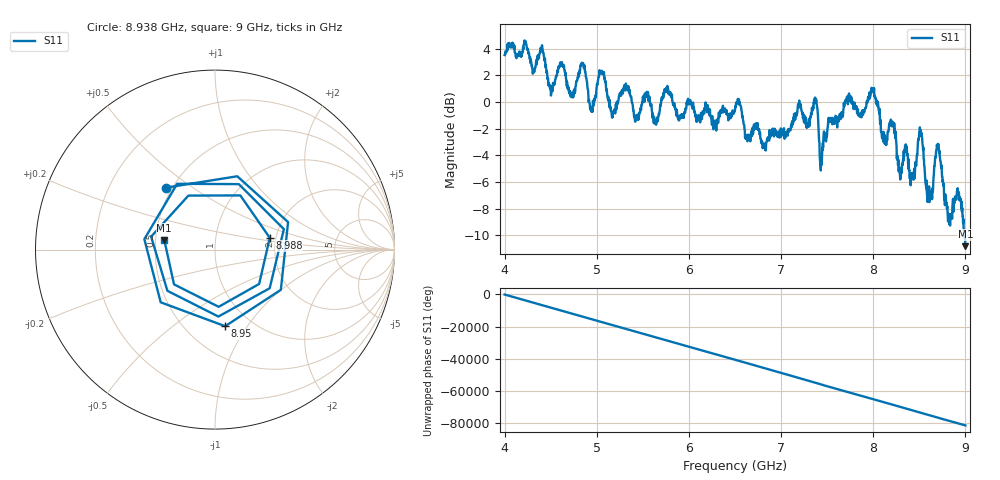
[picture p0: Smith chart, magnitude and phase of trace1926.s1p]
! Created with skrf 1.8.0 (http://scikit-rf.org).
# Hz S RI R 50.0
!freq ReS11 ImS11
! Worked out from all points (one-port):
!   1601 points, 4 GHz to 9 GHz, reference 50 ohm
!   lowest |S11| = -10.8 dB at 9 GHz (marker M1), VSWR 1.81, Z = 27.8 + j3.26 ohm
!   |S11| at or under -10 dB: 8.987195 GHz to 8.992762 GHz (5.567 MHz wide, 0.0619 % of centre); 8.99447 GHz to end of sweep
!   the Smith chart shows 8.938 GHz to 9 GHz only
!   S11 on the Smith chart (normalised r, x): 8.938 GHz: 0.46, +0.40; 8.95 GHz: 0.76, -0.80; 8.988 GHz: 1.85, +0.27; 9 GHz: 0.56, +0.07
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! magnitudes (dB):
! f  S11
! 4 GHz  3.5
! 4.5 GHz  1.0
! 4.625 GHz  2.8
! 4.725 GHz  0.4
! 4.853 GHz  2.9
! 4.944 GHz  -0.7
! 5.053 GHz  2.3
! 5.162 GHz  -0.9
! 5.25 GHz  0.7
! 5.875 GHz  -0.9
! 6.5 GHz  -0.6
! 6.809 GHz  -3.3
! 7.125 GHz  -1.6
! 7.372 GHz  0.3
! 7.438 GHz  -4.4
! 7.75 GHz  0.1
! 8 GHz  1.0
! 8.109 GHz  -3.0
! 8.375 GHz  -4.1
! 8.428 GHz  -5.4
! 8.512 GHz  -2.1
! 8.606 GHz  -6.3
! 8.697 GHz  -3.2
! 8.825 GHz  -8.7
! 8.938 GHz  -7.1
! 8.95 GHz  -7.3
! 8.988 GHz  -10.1
! 9 GHz  -10.8
